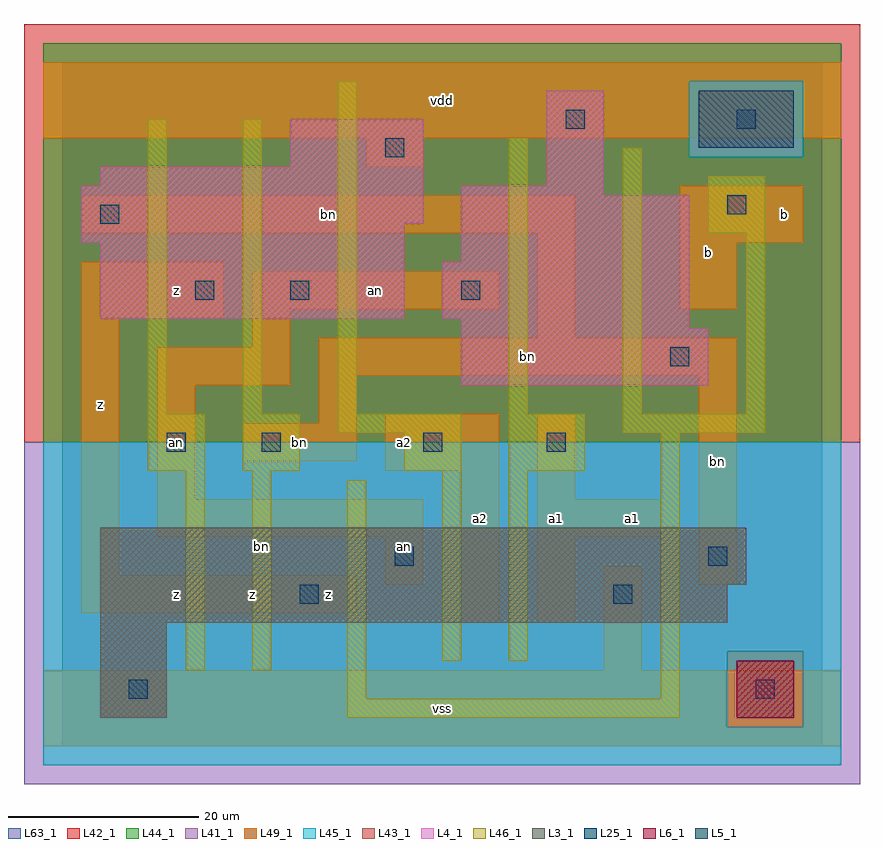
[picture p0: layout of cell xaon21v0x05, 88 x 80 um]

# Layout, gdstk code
import gdstk
lib = gdstk.Library(unit=1e-6, precision=1e-09)
def R(c, l, rs):  # rectangles x0, y0, x1, y1
    for r in rs: c.add(gdstk.rectangle(r[:2], r[2:], *l))
L3_1 = (3, 1)
L4_1 = (4, 1)
L5_1 = (5, 1)
L6_1 = (6, 1)
L25_1 = (25, 1)
L41_1 = (41, 1)
L42_1 = (42, 1)
L43_1 = (43, 1)
L44_1 = (44, 1)
L45_1 = (45, 1)
L46_1 = (46, 1)
L49_1 = (49, 1)
L63_1 = (63, 1)

xaon21v0x05 = lib.new_cell('xaon21v0x05')
R(xaon21v0x05, L3_1, [(4,3,11,13), (4,13,70,17), (4,17,72,23)])
R(xaon21v0x05, L4_1, [(42,38,68,44), (42,44,66,45), (4,45,36,53), (40,45,66,51), (42,51,66,58), (2,53,36,55), (2,55,38,59), (42,58,57,59), (4,59,38,61), (51,59,57,69), (24,61,38,66)])
R(xaon21v0x05, L5_1, [(67,63,77,69)])
R(xaon21v0x05, L6_1, [(71,3,77,9), (71,3,77,9)])
R(xaon21v0x05, L25_1, [(7,5,9,7), (73,5,75,7), (25,15,27,17), (58,15,60,17), (35,19,37,21), (68,19,70,21), (11,31,13,33), (21,31,23,33), (38,31,40,33), (51,31,53,33), (64,40,66,42), (14,47,16,49), (24,47,26,49), (42,47,44,49), (4,55,6,57), (70,56,72,58), (34,62,36,64), (53,65,55,67), (71,65,73,67)])
R(xaon21v0x05, L41_1, [(-4,-4,84,32)])
R(xaon21v0x05, L42_1, [(-4,32,84,76)])
R(xaon21v0x05, L43_1, [(4,3,11,13), (71,3,77,9), (4,13,70,17), (4,17,72,23), (42,38,68,44), (42,44,66,45), (4,45,36,53), (40,45,66,51), (42,51,66,58), (2,53,36,55), (2,55,38,59), (42,58,57,59), (4,59,38,61), (51,59,57,69), (24,61,38,66), (67,63,77,69)])
R(xaon21v0x05, L44_1, [(70,2,78,10), (-2,32,82,62), (-2,62,66,70), (78,62,82,70), (-2,70,82,74)])
R(xaon21v0x05, L45_1, [(-2,-2,82,2), (-2,2,70,10), (78,2,82,10), (-2,10,82,32), (66,62,78,70)])
R(xaon21v0x05, L46_1, [(30,3,65,5), (30,5,32,28), (63,5,65,33), (13,8,15,29), (20,8,22,29), (40,9,42,29), (47,9,49,29), (9,29,15,35), (19,29,25,35), (36,29,42,33), (47,29,55,35), (29,33,42,35), (59,33,74,35), (9,35,11,66), (19,35,21,66), (29,35,31,70), (47,35,49,64), (59,35,61,63), (72,35,74,54), (68,54,74,60)])
R(xaon21v0x05, L49_1, [(-2,0,82,8), (57,8,61,19), (42,13,46,29), (50,13,54,22), (2,14,31,18), (34,17,38,22), (67,17,71,39), (2,18,6,45), (10,22,38,26), (50,22,63,26), (10,26,14,38), (50,26,54,35), (34,29,46,35), (19,30,31,34), (27,34,31,39), (10,38,24,42), (27,39,71,43), (20,42,24,46), (50,43,54,54), (2,45,17,51), (20,46,46,50), (65,46,71,53), (65,53,78,59), (2,54,54,58), (32,61,38,64), (-2,64,82,72)])
R(xaon21v0x05, L63_1, [(0,0,80,72)])
xaon21v0x05.add(gdstk.Label('bn', (21,21), layer=46, texttype=1))
xaon21v0x05.add(gdstk.Label('an', (12,32), layer=49, texttype=1))
xaon21v0x05.add(gdstk.Label('z', (12,16), layer=49, texttype=1))
xaon21v0x05.add(gdstk.Label('z', (4,36), layer=49, texttype=1))
xaon21v0x05.add(gdstk.Label('an', (12,32), layer=49, texttype=1))
xaon21v0x05.add(gdstk.Label('z', (12,48), layer=49, texttype=1))
xaon21v0x05.add(gdstk.Label('z', (28,16), layer=49, texttype=1))
xaon21v0x05.add(gdstk.Label('an', (36,21), layer=49, texttype=1))
xaon21v0x05.add(gdstk.Label('z', (20,16), layer=49, texttype=1))
xaon21v0x05.add(gdstk.Label('bn', (25,32), layer=49, texttype=1))
xaon21v0x05.add(gdstk.Label('a2', (36,32), layer=49, texttype=1))
xaon21v0x05.add(gdstk.Label('vss', (40,4), layer=49, texttype=1))
xaon21v0x05.add(gdstk.Label('a2', (44,24), layer=49, texttype=1))
xaon21v0x05.add(gdstk.Label('a1', (52,24), layer=49, texttype=1))
xaon21v0x05.add(gdstk.Label('an', (33,48), layer=49, texttype=1))
xaon21v0x05.add(gdstk.Label('bn', (28,56), layer=49, texttype=1))
xaon21v0x05.add(gdstk.Label('vdd', (40,68), layer=49, texttype=1))
xaon21v0x05.add(gdstk.Label('a1', (60,24), layer=49, texttype=1))
xaon21v0x05.add(gdstk.Label('bn', (69,30), layer=49, texttype=1))
xaon21v0x05.add(gdstk.Label('bn', (49,41), layer=49, texttype=1))
xaon21v0x05.add(gdstk.Label('b', (68,52), layer=49, texttype=1))
xaon21v0x05.add(gdstk.Label('b', (76,56), layer=49, texttype=1))

lib.write_gds('xaon21v0x05.gds')
